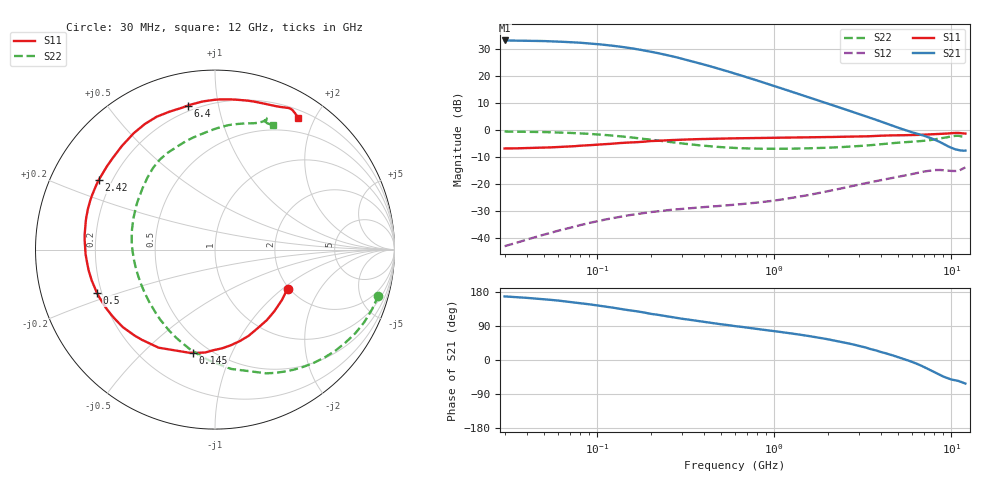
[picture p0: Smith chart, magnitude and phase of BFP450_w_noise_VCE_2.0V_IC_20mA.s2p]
! (c) 2015  Infineon Technologies AG, Munich
! Infineon Technologies  Discrete & RF Semiconductors
! BFP450
! VCE =  2.0 V,  IC =  20 mA
! Common Emitter S-Parameters:  Nov 2015
# GHz  S  MA  R  50
!  f  S11  S21  S12  S22
! GHz  MAG  ANG  MAG  ANG  MAG  ANG  MAG  ANG
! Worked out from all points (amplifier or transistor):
!   239 points, 30 MHz to 12 GHz, reference 50 ohm
!   highest |S21| = 33.3 dB at 30 MHz (marker M1)
!   |S21| within 3 dB of that: start of sweep to 159.5 MHz
!   unconditionally stable (mu >= 1): 1.643 GHz to end of sweep
!   at 300 MHz: K = 0.30, MSG = 27.8 dB, |S12| = -29.1 dB
!   at 1.88 GHz: K = 1.05, MAG = 15.4 dB, |S12| = -23.0 dB
!   at 12 GHz: K = 1.11, MAG = 1.1 dB, |S12| = -13.8 dB
!   lowest NFmin = 1.10 dB at 450 MHz
!   S11 on the Smith chart (normalised r, x): 30 MHz: 1.96, -1.08; 145 MHz: 0.41, -0.72; 500 MHz: 0.18, -0.17; 2.42 GHz: 0.15, +0.27; 6.4 GHz: 0.17, +0.81; 12 GHz: 0.30, +1.78
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0.03  0.4591 -28.3  46.09 167.8  0.0071 80.7  0.9458 -15.7
0.04  0.4668 -37.1  45.53 164.0  0.0094 77.5  0.9362 -20.8
0.05  0.477 -46.2  44.91 160.2  0.0116 74.8  0.9247 -25.9
0.06  0.4878 -53.8  43.95 156.9  0.0137 72.1  0.9102 -30.8
0.07  0.4992 -62.0  42.88 153.1  0.0155 68.1  0.8922 -35.6
0.085  0.5211 -71.8  41.22 148.6  0.0182 64.7  0.8653 -42.4
0.11  0.5513 -85.8  38.28 141.3  0.022 59.0  0.8185 -52.9
0.145  0.5877 -101.9  34.22 132.7  0.026 52.6  0.7546 -65.8
0.2  0.6304 -119.9  28.52 121.9  0.0304 45.4  0.6704 -82.4
0.24  0.6469 -129.0  25.26 116.4  0.0325 41.9  0.6223 -92.0
0.3  0.6707 -139.8  21.2 109.0  0.0349 38.4  0.5703 -104.6
0.34  0.6782 -145.1  19.11 105.5  0.0361 36.9  0.5445 -111.3
0.4  0.6891 -151.8  16.52 100.5  0.0376 35.3  0.5164 -120.3
0.5  0.7006 -159.9  13.38 94.3  0.0397 34.2  0.4864 -131.9
0.6  0.7082 -166.0  11.18 89.4  0.0417 34.1  0.4696 -140.9
0.8  0.7173 -174.8  8.32 81.8  0.0456 34.9  0.4553 -154.1
1  0.724 178.7  6.569 76.1  0.0497 36.1  0.4525 -163.7
1.64  0.7413 163.6  3.872 61.7  0.0649 37.6  0.4644 176.0
2.42  0.7551 149.2  2.535 47.3  0.0842 34.8  0.4875 158.5
4.5  0.8016 119.1  1.256 14.2  0.1274 18.6  0.5711 127.2
6.4  0.8165 100.7  0.863 -10.1  0.1611 2.4  0.6218 106.2
12  0.8669 57.6  0.419 -62.2  0.2045 -40.5  0.7647 65.1
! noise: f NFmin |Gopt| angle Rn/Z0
0.45  1.1  0.33  -178  0.07
0.9  1.17  0.39  -178  0.07
1.9  1.31  0.49  -163  0.07
2.4  1.45  0.52  -153  0.08
